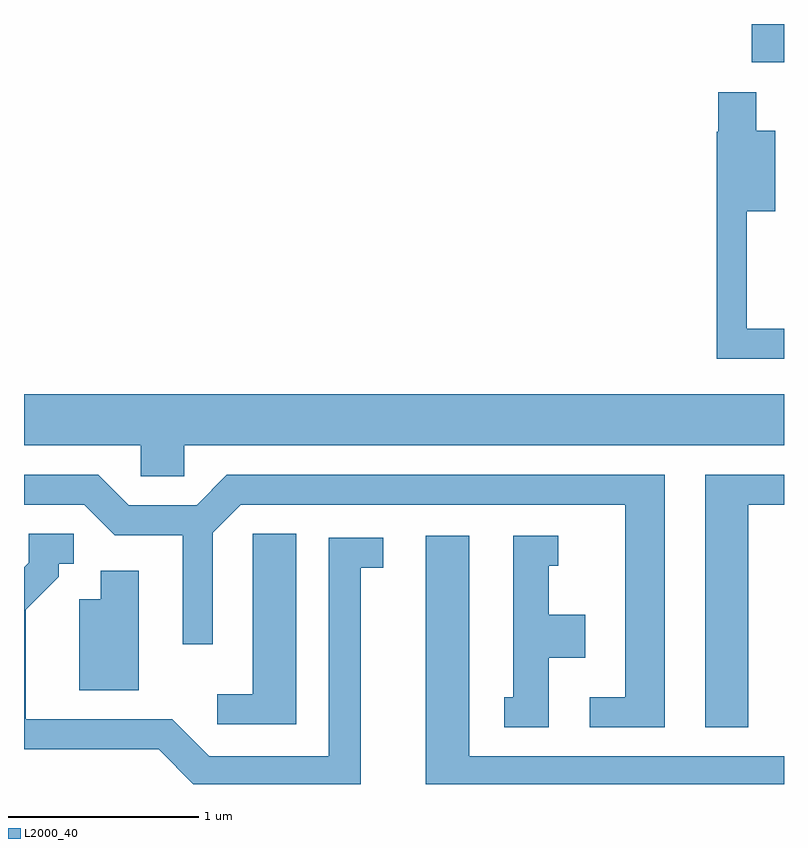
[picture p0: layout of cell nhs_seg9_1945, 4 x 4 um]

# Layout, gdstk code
import gdstk
lib = gdstk.Library(unit=1e-6, precision=1e-09)
def R(c, l, rs):  # rectangles x0, y0, x1, y1
    for r in rs: c.add(gdstk.rectangle(r[:2], r[2:], *l))
def P(c, l, *ps):  # polygons
    for p in ps: c.add(gdstk.Polygon(p, *l))
L2000_40 = (2000, 40)

nhs_seg9_1945 = lib.new_cell('nhs_seg9_1945')
R(nhs_seg9_1945, L2000_40, [(245.441,2038.231,245.611,2038.432)])
P(nhs_seg9_1945, L2000_40, [(245.611,2036.829),(245.414,2036.829),(245.414,2037.446),(245.564,2037.446),(245.564,2037.869),(245.464,2037.869),(245.464,2038.074),(245.266,2038.074),(245.266,2037.865),(245.256,2037.865),(245.256,2036.671),(245.611,2036.671)],
  [(242.454,2036.216),(245.611,2036.216),(245.611,2036.484),(241.611,2036.484),(241.611,2036.216),(242.226,2036.216),(242.226,2036.051),(242.454,2036.051)],
  [(244.984,2036.059),(242.679,2036.059),(242.519,2035.899),(242.162,2035.899),(242.002,2036.059),(241.611,2036.059),(241.611,2035.901),(241.929,2035.901),(242.089,2035.741),(242.446,2035.741),(242.446,2035.168),(242.604,2035.168),(242.604,2035.754),(242.752,2035.901),(244.776,2035.901),(244.776,2034.889),(244.588,2034.889),(244.588,2034.731),(244.984,2034.731)],
  [(245.424,2035.901),(245.611,2035.901),(245.611,2036.059),(245.196,2036.059),(245.196,2034.731),(245.424,2034.731)],
  [(243.044,2035.749),(242.816,2035.749),(242.816,2034.904),(242.628,2034.904),(242.628,2034.746),(243.044,2034.746)],
  [(243.384,2035.571),(243.503,2035.571),(243.503,2035.729),(243.216,2035.729),(243.216,2034.579),(242.587,2034.579),(242.392,2034.774),(241.619,2034.774),(241.619,2035.349),(241.794,2035.524),(241.794,2035.591),(241.873,2035.591),(241.873,2035.749),(241.636,2035.749),(241.636,2035.597),(241.611,2035.572),(241.611,2034.616),(242.319,2034.616),(242.503,2034.432),(243.384,2034.432)],
  [(244.374,2035.096),(244.564,2035.096),(244.564,2035.324),(244.374,2035.324),(244.374,2035.581),(244.423,2035.581),(244.423,2035.739),(244.186,2035.739),(244.186,2034.889),(244.138,2034.889),(244.138,2034.731),(244.374,2034.731)],
  [(245.611,2034.579),(243.954,2034.579),(243.954,2035.739),(243.726,2035.739),(243.726,2034.432),(245.611,2034.432)],
  [(242.214,2035.554),(242.016,2035.554),(242.016,2035.404),(241.901,2035.404),(241.901,2034.926),(242.214,2034.926)])

lib.write_gds('nhs_seg9_1945.gds')
